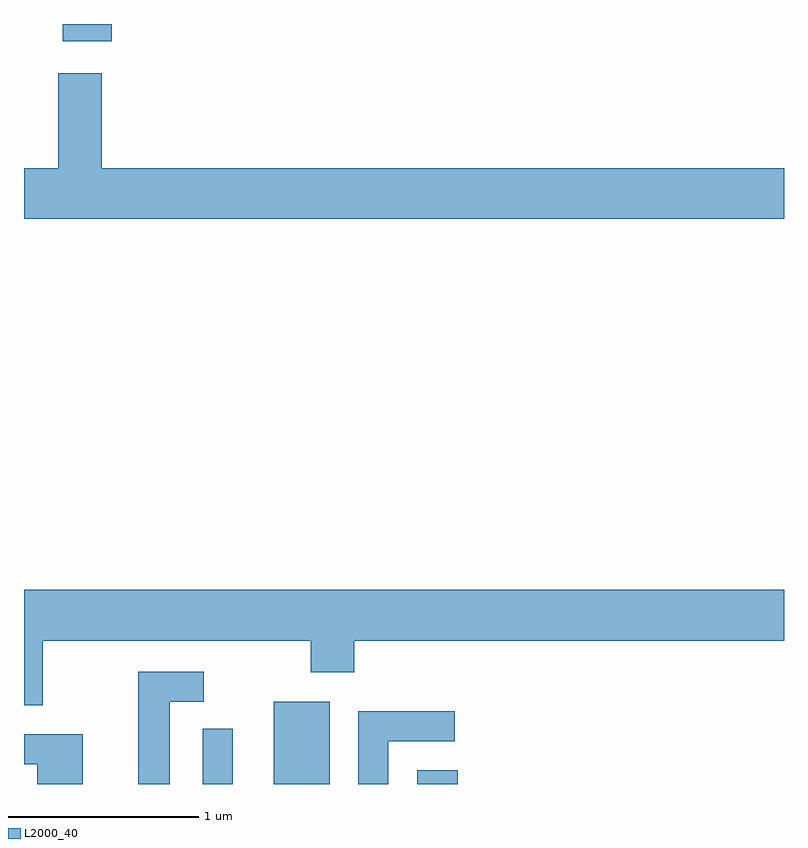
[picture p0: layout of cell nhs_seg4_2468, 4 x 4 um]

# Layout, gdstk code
import gdstk
lib = gdstk.Library(unit=1e-6, precision=1e-09)
def R(c, l, rs):  # rectangles x0, y0, x1, y1
    for r in rs: c.add(gdstk.rectangle(r[:2], r[2:], *l))
def P(c, l, *ps):  # polygons
    for p in ps: c.add(gdstk.Polygon(p, *l))
L2000_40 = (2000, 40)

nhs_seg4_2468 = lib.new_cell('nhs_seg4_2468')
R(nhs_seg4_2468, L2000_40, [(258.551,1293.982,258.709,1294.273), (258.926,1293.982,259.219,1294.414), (259.681,1293.982,259.894,1294.054), (257.816,1297.891,258.074,1297.982)])
P(nhs_seg4_2468, L2000_40, [(261.611,1297.224),(258.019,1297.224),(258.019,1297.724),(257.791,1297.724),(257.791,1297.224),(257.611,1297.224),(257.611,1296.956),(261.611,1296.956)],
  [(257.709,1294.736),(259.121,1294.736),(259.121,1294.571),(259.349,1294.571),(259.349,1294.736),(261.611,1294.736),(261.611,1295.004),(257.611,1295.004),(257.611,1294.396),(257.709,1294.396)],
  [(258.379,1294.416),(258.558,1294.416),(258.558,1294.574),(258.211,1294.574),(258.211,1293.982),(258.379,1293.982)],
  [(259.529,1294.206),(259.878,1294.206),(259.878,1294.364),(259.371,1294.364),(259.371,1293.982),(259.529,1293.982)],
  [(257.919,1294.244),(257.611,1294.244),(257.611,1294.086),(257.681,1294.086),(257.681,1293.982),(257.919,1293.982)])

lib.write_gds('nhs_seg4_2468.gds')
